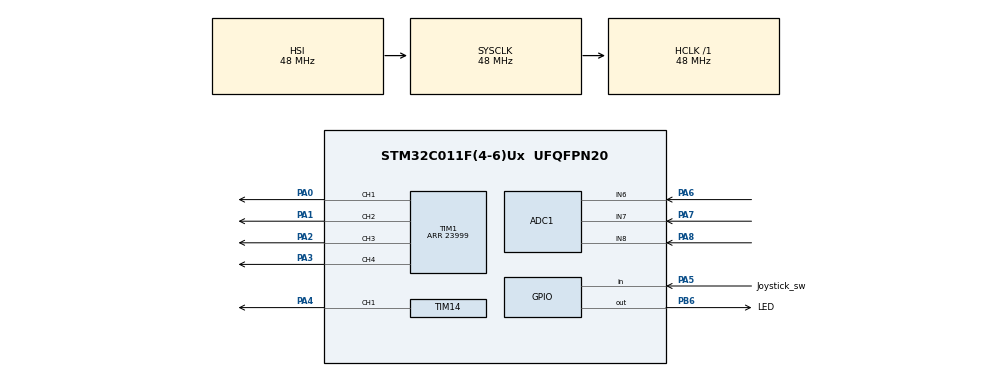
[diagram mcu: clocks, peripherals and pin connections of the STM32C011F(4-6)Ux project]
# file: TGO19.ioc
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ADC1.ClockPrescaler=ADC_CLOCK_ASYNC_DIV8
ADC1.DiscontinuousConvMode=ENABLE
ADC1.NbrOfConversionFlag=0
ADC1.OversamplingMode=ENABLE
ADC1.Ratio=ADC_OVERSAMPLING_RATIO_4
ADC1.RightBitShift=ADC_RIGHTBITSHIFT_NONE
ADC1.SamplingTimeCommon1=ADC_SAMPLETIME_79CYCLES_5
ADC1.SelectedChannel=ADC_CHANNEL_6|ADC_CHANNEL_7|ADC_CHANNEL_8
ADC1.TriggeredMode=ADC_TRIGGEREDMODE_SINGLE_TRIGGER
ADC1.master=1
Mcu.Family=STM32C0
Mcu.Name=STM32C011F(4-6)Ux
Mcu.Package=UFQFPN20
PA0.Signal=S_TIM1_CH1
PA1.Signal=S_TIM1_CH2
PA13.GPIO_Label=Swdio
PA13.Signal=DEBUG_SWDIO
PA14-BOOT0.GPIO_Label=Swclk
PA14-BOOT0.Signal=DEBUG_SWCLK
PA2.Signal=S_TIM1_CH3
PA3.Signal=S_TIM1_CH4
PA4.Signal=S_TIM14_CH1
PA5.GPIO_Label=Joystick_sw
PA5.GPIO_PuPd=GPIO_PULLUP
PA5.Signal=GPIO_Input
PA6.Mode=IN6
PA6.Signal=ADC1_IN6
PA7.Mode=IN7
PA7.Signal=ADC1_IN7
PA8.Mode=IN8
PA8.Signal=ADC1_IN8
PB6.GPIO_Label=LED
PB6.GPIO_Speed=GPIO_SPEED_FREQ_VERY_HIGH
PB6.PinState=GPIO_PIN_SET
PB6.Signal=GPIO_Output
ProjectManager.HeapSize=0x200
ProjectManager.StackSize=0x400
ProjectManager.TargetToolchain=STM32CubeIDE
RCC.ADCCLockSelection=RCC_ADCCLKSOURCE_HSIKER
RCC.ADCFreq_Value=12000000
RCC.AHBFreq_Value=48000000
RCC.APB1CLKDivider=RCC_APB1_DIV4
RCC.CortexFreq_Value=48000000
RCC.EXTERNAL_CLOCK_VALUE=12288000
RCC.HCLKFreq_Value=48000000
RCC.HSE_VALUE=8000000
RCC.HSIKERCLKDivider=RCC_HSIKER_DIV4
RCC.HSISYSCLKDivider=RCC_HSI_DIV1
RCC.HSI_VALUE=48000000
RCC.LSE_VALUE=32768
RCC.SYSCLKFreq_VALUE=48000000
SH.S_TIM14_CH1.0=TIM14_CH1,PWM Generation1 CH1
SH.S_TIM1_CH1.0=TIM1_CH1,PWM Generation1 CH1
SH.S_TIM1_CH2.0=TIM1_CH2,PWM Generation2 CH2
SH.S_TIM1_CH3.0=TIM1_CH3,PWM Generation3 CH3
SH.S_TIM1_CH4.0=TIM1_CH4,PWM Generation4 CH4
TIM1.Channel-PWM\ Generation1\ CH1=TIM_CHANNEL_1
TIM1.Channel-PWM\ Generation2\ CH2=TIM_CHANNEL_2
TIM1.Channel-PWM\ Generation3\ CH3=TIM_CHANNEL_3
TIM1.Channel-PWM\ Generation4\ CH4=TIM_CHANNEL_4
TIM1.Period=23999
TIM14.Channel=TIM_CHANNEL_1
VP_TIM14_VS_ClockSourceINT.Mode=Enable_Timer
VP_TIM1_VS_ClockSourceINT.Mode=Internal
VP_TIM1_VS_ClockSourceITR.Mode=TriggerSource_ITR0
board=STM32C0116-DK

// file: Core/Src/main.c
/* USER CODE BEGIN Header */
/**
  ******************************************************************************
  * @file           : main.c
  * @brief          : Main program body
  ******************************************************************************
  * @attention
  *
  * Copyright (c) 2025 STMicroelectronics.
  * All rights reserved.
  *
  * This software is licensed under terms that can be found in the LICENSE file
  * in the root directory of this software component.
  * If no LICENSE file comes with this software, it is provided AS-IS.
  *
  ******************************************************************************
  */
/* USER CODE END Header */
#include "main.h"

/* USER CODE BEGIN Includes */
#include <stdbool.h>

/* USER CODE END Includes */

/* USER CODE BEGIN PD */
#define MAX_ADC_VAL 0x3FFF
#define ADC_THRESHOLD 0x7F
#define ADC_JS_MIDDLE_POINT 0x21A0

/* USER CODE END PD */

ADC_HandleTypeDef hadc1;

TIM_HandleTypeDef htim1;
TIM_HandleTypeDef htim14;

void SystemClock_Config(void);
void PeriphCommonClock_Config(void);
static void MX_GPIO_Init(void);
static void MX_ADC1_Init(void);
static void MX_TIM1_Init(void);
static void MX_TIM14_Init(void);

int main(void)
{

  /* USER CODE BEGIN 1 */
	ADC_ChannelConfTypeDef ADC_CH_Cfg = {0};
	uint16_t joystick_lr = 0;
	uint16_t joystick_fb = 0;
	uint16_t joystick_ob = 0;

  /* USER CODE END 1 */

  /* MCU Configuration--------------------------------------------------------*/

  /* Reset of all peripherals, Initializes the Flash interface and the Systick. */
  HAL_Init();

  /* Configure the system clock */
  SystemClock_Config();

  /* Configure the peripherals common clocks */
  PeriphCommonClock_Config();

  /* Initialize all configured peripherals */
  MX_GPIO_Init();
  MX_ADC1_Init();
  MX_TIM1_Init();
  MX_TIM14_Init();
  /* USER CODE BEGIN 2 */
  ADC_CH_Cfg.Rank =  ADC_REGULAR_RANK_1;
  ADC_CH_Cfg.SamplingTime = ADC_SAMPLETIME_1CYCLE_5;

  HAL_TIM_PWM_Start(&htim1, TIM_CHANNEL_1);
  HAL_TIM_PWM_Start(&htim1, TIM_CHANNEL_2);
  HAL_TIM_PWM_Start(&htim1, TIM_CHANNEL_3);
  HAL_TIM_PWM_Start(&htim1, TIM_CHANNEL_4);
  HAL_TIM_PWM_Start(&htim14, TIM_CHANNEL_1);
  /* USER CODE END 2 */

  /* Infinite loop */
  /* USER CODE BEGIN WHILE */
  while (1)
  {
	  HAL_Delay(40);
	  HAL_GPIO_WritePin(LED_GPIO_Port, LED_Pin, GPIO_PIN_SET);
	  HAL_Delay(40);
	  HAL_GPIO_WritePin(LED_GPIO_Port, LED_Pin, GPIO_PIN_RESET);
    /* USER CODE END WHILE */

    /* USER CODE BEGIN 3 */

		ADC_CH_Cfg.Channel = ADC_CHANNEL_6;         // Select The ADC Channel [i]
		HAL_ADC_ConfigChannel(&hadc1, &ADC_CH_Cfg);   // Configure The Selected ADC Channel
		HAL_ADC_Start(&hadc1);                        // Start ADC Conversion @ Selected Channel
		HAL_ADC_PollForConversion(&hadc1, 1);         // Poll The ADC Channel With TimeOut = 1mSec
		joystick_lr = HAL_ADC_GetValue(&hadc1);         // Read The ADC Conversion Result

		ADC_CH_Cfg.Channel = ADC_CHANNEL_7;         // Select The ADC Channel [i]
		HAL_ADC_ConfigChannel(&hadc1, &ADC_CH_Cfg);   // Configure The Selected ADC Channel
		HAL_ADC_Start(&hadc1);                        // Start ADC Conversion @ Selected Channel
		HAL_ADC_PollForConversion(&hadc1, 1);         // Poll The ADC Channel With TimeOut = 1mSec
		joystick_fb = HAL_ADC_GetValue(&hadc1);         // Read The ADC Conversion Result

		ADC_CH_Cfg.Channel = ADC_CHANNEL_8;         // Select The ADC Channel [i]
		HAL_ADC_ConfigChannel(&hadc1, &ADC_CH_Cfg);   // Configure The Selected ADC Channel
		HAL_ADC_Start(&hadc1);                        // Start ADC Conversion @ Selected Channel
		HAL_ADC_PollForConversion(&hadc1, 1);         // Poll The ADC Channel With TimeOut = 1mSec
		joystick_ob = HAL_ADC_GetValue(&hadc1);         // Read The ADC Conversion Result

		//LEFT RIGHT
		if (joystick_lr > (ADC_JS_MIDDLE_POINT + ADC_THRESHOLD))
		{
			uint16_t diff = (joystick_lr - ADC_JS_MIDDLE_POINT) * 8;
			__HAL_TIM_SET_COMPARE(&htim1, TIM_CHANNEL_2, 0);
			__HAL_TIM_SET_COMPARE(&htim1, TIM_CHANNEL_1, diff);
		}
		else if (joystick_lr < (ADC_JS_MIDDLE_POINT - ADC_THRESHOLD))
		{
			uint16_t diff = (ADC_JS_MIDDLE_POINT - joystick_lr) * 8;
			__HAL_TIM_SET_COMPARE(&htim1, TIM_CHANNEL_1, 0);
			__HAL_TIM_SET_COMPARE(&htim1, TIM_CHANNEL_2, diff);
		}
		else
		{
			__HAL_TIM_SET_COMPARE(&htim1, TIM_CHANNEL_1, 0);
			__HAL_TIM_SET_COMPARE(&htim1, TIM_CHANNEL_2, 0);
		}

		//FORWARD BACKWARD
		if (joystick_fb > (ADC_JS_MIDDLE_POINT + ADC_THRESHOLD))
		{
			uint16_t diff = (joystick_fb - (MAX_ADC_VAL / 2)) * 8;
			__HAL_TIM_SET_COMPARE(&htim1, TIM_CHANNEL_4, 0);
			__HAL_TIM_SET_COMPARE(&htim1, TIM_CHANNEL_3, diff);
		}
		else if (joystick_fb < (ADC_JS_MIDDLE_POINT - ADC_THRESHOLD))
		{
			uint16_t diff = (ADC_JS_MIDDLE_POINT - joystick_fb) * 8;
			__HAL_TIM_SET_COMPARE(&htim1, TIM_CHANNEL_3, 0);
			__HAL_TIM_SET_COMPARE(&htim1, TIM_CHANNEL_4, diff);
		}
		else
		{
			__HAL_TIM_SET_COMPARE(&htim1, TIM_CHANNEL_3, 0);
			__HAL_TIM_SET_COMPARE(&htim1, TIM_CHANNEL_4, 0);
		}

		//BUZZER
		if (HAL_GPIO_ReadPin(Joystick_sw_GPIO_Port, Joystick_sw_Pin) == false)
		{
			uint16_t diff = joystick_ob * 2;
			__HAL_TIM_SET_COMPARE(&htim14, TIM_CHANNEL_1, MAX_ADC_VAL * 5 + diff);
		}
		else
		{
			__HAL_TIM_SET_COMPARE(&htim14, TIM_CHANNEL_1, 0);
		}
  }
  /* USER CODE END 3 */
}

void SystemClock_Config(void)
{
  RCC_OscInitTypeDef RCC_OscInitStruct = {0};
  RCC_ClkInitTypeDef RCC_ClkInitStruct = {0};

  __HAL_FLASH_SET_LATENCY(FLASH_LATENCY_1);

  /** Initializes the RCC Oscillators according to the specified parameters
  * in the RCC_OscInitTypeDef structure.
  */
  RCC_OscInitStruct.OscillatorType = RCC_OSCILLATORTYPE_HSI;
  RCC_OscInitStruct.HSIState = RCC_HSI_ON;
  RCC_OscInitStruct.HSIDiv = RCC_HSI_DIV1;
  RCC_OscInitStruct.HSICalibrationValue = RCC_HSICALIBRATION_DEFAULT;
  if (HAL_RCC_OscConfig(&RCC_OscInitStruct) != HAL_OK)
  {
    Error_Handler();
  }

  /** Initializes the CPU, AHB and APB buses clocks
  */
  RCC_ClkInitStruct.ClockType = RCC_CLOCKTYPE_HCLK|RCC_CLOCKTYPE_SYSCLK
                              |RCC_CLOCKTYPE_PCLK1;
  RCC_ClkInitStruct.SYSCLKSource = RCC_SYSCLKSOURCE_HSI;
  RCC_ClkInitStruct.SYSCLKDivider = RCC_SYSCLK_DIV1;
  RCC_ClkInitStruct.AHBCLKDivider = RCC_HCLK_DIV1;
  RCC_ClkInitStruct.APB1CLKDivider = RCC_APB1_DIV4;

  if (HAL_RCC_ClockConfig(&RCC_ClkInitStruct, FLASH_LATENCY_1) != HAL_OK)
  {
    Error_Handler();
  }
}

void PeriphCommonClock_Config(void)
{
  RCC_PeriphCLKInitTypeDef PeriphClkInit = {0};

  /** Initializes the common peripherals clocks
  */
  PeriphClkInit.PeriphClockSelection = RCC_PERIPHCLK_HSIKER;
  PeriphClkInit.HSIKerClockDivider = RCC_HSIKER_DIV4;

  if (HAL_RCCEx_PeriphCLKConfig(&PeriphClkInit) != HAL_OK)
  {
    Error_Handler();
  }
}

static void MX_ADC1_Init(void)
{

  ADC_ChannelConfTypeDef sConfig = {0};

  /** Configure the global features of the ADC (Clock, Resolution, Data Alignment and number of conversion)
  */
  hadc1.Instance = ADC1;
  hadc1.Init.ClockPrescaler = ADC_CLOCK_ASYNC_DIV8;
  hadc1.Init.Resolution = ADC_RESOLUTION_12B;
  hadc1.Init.DataAlign = ADC_DATAALIGN_RIGHT;
  hadc1.Init.ScanConvMode = ADC_SCAN_SEQ_FIXED;
  hadc1.Init.EOCSelection = ADC_EOC_SINGLE_CONV;
  hadc1.Init.LowPowerAutoWait = DISABLE;
  hadc1.Init.LowPowerAutoPowerOff = DISABLE;
  hadc1.Init.ContinuousConvMode = DISABLE;
  hadc1.Init.NbrOfConversion = 1;
  hadc1.Init.DiscontinuousConvMode = ENABLE;
  hadc1.Init.ExternalTrigConv = ADC_SOFTWARE_START;
  hadc1.Init.ExternalTrigConvEdge = ADC_EXTERNALTRIGCONVEDGE_NONE;
  hadc1.Init.DMAContinuousRequests = DISABLE;
  hadc1.Init.Overrun = ADC_OVR_DATA_PRESERVED;
  hadc1.Init.SamplingTimeCommon1 = ADC_SAMPLETIME_79CYCLES_5;
  hadc1.Init.OversamplingMode = ENABLE;
  hadc1.Init.Oversampling.Ratio = ADC_OVERSAMPLING_RATIO_4;
  hadc1.Init.Oversampling.RightBitShift = ADC_RIGHTBITSHIFT_NONE;
  hadc1.Init.Oversampling.TriggeredMode = ADC_TRIGGEREDMODE_SINGLE_TRIGGER;
  hadc1.Init.TriggerFrequencyMode = ADC_TRIGGER_FREQ_HIGH;
  if (HAL_ADC_Init(&hadc1) != HAL_OK)
  {
    Error_Handler();
  }

  /** Configure Regular Channel
  */
  sConfig.Channel = ADC_CHANNEL_6;
  sConfig.Rank = ADC_RANK_CHANNEL_NUMBER;
  if (HAL_ADC_ConfigChannel(&hadc1, &sConfig) != HAL_OK)
  {
    Error_Handler();
  }

  /** Configure Regular Channel
  */
  sConfig.Channel = ADC_CHANNEL_7;
  if (HAL_ADC_ConfigChannel(&hadc1, &sConfig) != HAL_OK)
  {
    Error_Handler();
  }

  /** Configure Regular Channel
  */
  sConfig.Channel = ADC_CHANNEL_8;
  if (HAL_ADC_ConfigChannel(&hadc1, &sConfig) != HAL_OK)
  {
    Error_Handler();
  }

}

static void MX_TIM1_Init(void)
{

  TIM_ClockConfigTypeDef sClockSourceConfig = {0};
  TIM_SlaveConfigTypeDef sSlaveConfig = {0};
  TIM_MasterConfigTypeDef sMasterConfig = {0};
  TIM_OC_InitTypeDef sConfigOC = {0};
  TIM_BreakDeadTimeConfigTypeDef sBreakDeadTimeConfig = {0};

  htim1.Instance = TIM1;
  htim1.Init.Prescaler = 0;
  htim1.Init.CounterMode = TIM_COUNTERMODE_UP;
  htim1.Init.Period = 23999;
  htim1.Init.ClockDivision = TIM_CLOCKDIVISION_DIV1;
  htim1.Init.RepetitionCounter = 0;
  htim1.Init.AutoReloadPreload = TIM_AUTORELOAD_PRELOAD_DISABLE;
  if (HAL_TIM_Base_Init(&htim1) != HAL_OK)
  {
    Error_Handler();
  }
  sClockSourceConfig.ClockSource = TIM_CLOCKSOURCE_INTERNAL;
  if (HAL_TIM_ConfigClockSource(&htim1, &sClockSourceConfig) != HAL_OK)
  {
    Error_Handler();
  }
  if (HAL_TIM_PWM_Init(&htim1) != HAL_OK)
  {
    Error_Handler();
  }
  sSlaveConfig.SlaveMode = TIM_SLAVEMODE_DISABLE;
  sSlaveConfig.InputTrigger = TIM_TS_ITR0;
  if (HAL_TIM_SlaveConfigSynchro(&htim1, &sSlaveConfig) != HAL_OK)
  {
    Error_Handler();
  }
  sMasterConfig.MasterOutputTrigger = TIM_TRGO_RESET;
  sMasterConfig.MasterOutputTrigger2 = TIM_TRGO2_RESET;
  sMasterConfig.MasterSlaveMode = TIM_MASTERSLAVEMODE_DISABLE;
  if (HAL_TIMEx_MasterConfigSynchronization(&htim1, &sMasterConfig) != HAL_OK)
  {
    Error_Handler();
  }
  sConfigOC.OCMode = TIM_OCMODE_PWM1;
  sConfigOC.Pulse = 0;
  sConfigOC.OCPolarity = TIM_OCPOLARITY_HIGH;
  sConfigOC.OCNPolarity = TIM_OCNPOLARITY_HIGH;
  sConfigOC.OCFastMode = TIM_OCFAST_DISABLE;
  sConfigOC.OCIdleState = TIM_OCIDLESTATE_RESET;
  sConfigOC.OCNIdleState = TIM_OCNIDLESTATE_RESET;
  if (HAL_TIM_PWM_ConfigChannel(&htim1, &sConfigOC, TIM_CHANNEL_1) != HAL_OK)
  {
    Error_Handler();
  }
  if (HAL_TIM_PWM_ConfigChannel(&htim1, &sConfigOC, TIM_CHANNEL_2) != HAL_OK)
  {
    Error_Handler();
  }
  if (HAL_TIM_PWM_ConfigChannel(&htim1, &sConfigOC, TIM_CHANNEL_3) != HAL_OK)
  {
    Error_Handler();
  }
  if (HAL_TIM_PWM_ConfigChannel(&htim1, &sConfigOC, TIM_CHANNEL_4) != HAL_OK)
  {
    Error_Handler();
  }
  sBreakDeadTimeConfig.OffStateRunMode = TIM_OSSR_DISABLE;
  sBreakDeadTimeConfig.OffStateIDLEMode = TIM_OSSI_DISABLE;
  sBreakDeadTimeConfig.LockLevel = TIM_LOCKLEVEL_OFF;
  sBreakDeadTimeConfig.DeadTime = 0;
  sBreakDeadTimeConfig.BreakState = TIM_BREAK_DISABLE;
  sBreakDeadTimeConfig.BreakPolarity = TIM_BREAKPOLARITY_HIGH;
  sBreakDeadTimeConfig.BreakFilter = 0;
  sBreakDeadTimeConfig.BreakAFMode = TIM_BREAK_AFMODE_INPUT;
  sBreakDeadTimeConfig.Break2State = TIM_BREAK2_DISABLE;
  sBreakDeadTimeConfig.Break2Polarity = TIM_BREAK2POLARITY_HIGH;
  sBreakDeadTimeConfig.Break2Filter = 0;
  sBreakDeadTimeConfig.Break2AFMode = TIM_BREAK_AFMODE_INPUT;
  sBreakDeadTimeConfig.AutomaticOutput = TIM_AUTOMATICOUTPUT_DISABLE;
  if (HAL_TIMEx_ConfigBreakDeadTime(&htim1, &sBreakDeadTimeConfig) != HAL_OK)
  {
    Error_Handler();
  }
  HAL_TIM_MspPostInit(&htim1);

}

static void MX_TIM14_Init(void)
{

  TIM_OC_InitTypeDef sConfigOC = {0};

  htim14.Instance = TIM14;
  htim14.Init.Prescaler = 0;
  htim14.Init.CounterMode = TIM_COUNTERMODE_UP;
  htim14.Init.Period = 65535;
  htim14.Init.ClockDivision = TIM_CLOCKDIVISION_DIV1;
  htim14.Init.AutoReloadPreload = TIM_AUTORELOAD_PRELOAD_DISABLE;
  if (HAL_TIM_Base_Init(&htim14) != HAL_OK)
  {
    Error_Handler();
  }
  if (HAL_TIM_PWM_Init(&htim14) != HAL_OK)
  {
    Error_Handler();
  }
  sConfigOC.OCMode = TIM_OCMODE_PWM1;
  sConfigOC.Pulse = 0;
  sConfigOC.OCPolarity = TIM_OCPOLARITY_HIGH;
  sConfigOC.OCFastMode = TIM_OCFAST_DISABLE;
  if (HAL_TIM_PWM_ConfigChannel(&htim14, &sConfigOC, TIM_CHANNEL_1) != HAL_OK)
  {
    Error_Handler();
  }
  HAL_TIM_MspPostInit(&htim14);

}

static void MX_GPIO_Init(void)
{
  GPIO_InitTypeDef GPIO_InitStruct = {0};

  /* GPIO Ports Clock Enable */
  __HAL_RCC_GPIOA_CLK_ENABLE();
  __HAL_RCC_GPIOB_CLK_ENABLE();

  /*Configure GPIO pin Output Level */
  HAL_GPIO_WritePin(LED_GPIO_Port, LED_Pin, GPIO_PIN_SET);

  /*Configure GPIO pin : Joystick_sw_Pin */
  GPIO_InitStruct.Pin = Joystick_sw_Pin;
  GPIO_InitStruct.Mode = GPIO_MODE_INPUT;
  GPIO_InitStruct.Pull = GPIO_PULLUP;
  HAL_GPIO_Init(Joystick_sw_GPIO_Port, &GPIO_InitStruct);

  /*Configure GPIO pin : LED_Pin */
  GPIO_InitStruct.Pin = LED_Pin;
  GPIO_InitStruct.Mode = GPIO_MODE_OUTPUT_PP;
  GPIO_InitStruct.Pull = GPIO_NOPULL;
  GPIO_InitStruct.Speed = GPIO_SPEED_FREQ_VERY_HIGH;
  HAL_GPIO_Init(LED_GPIO_Port, &GPIO_InitStruct);

}

void Error_Handler(void)
{
  __disable_irq();
  while (1)
  {
  }
}
